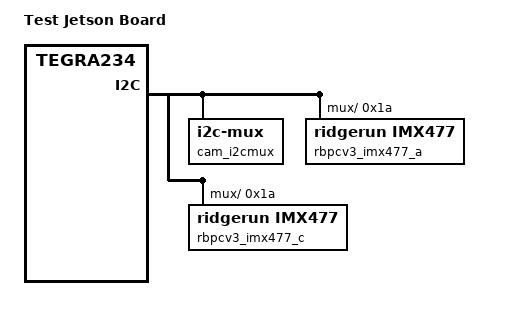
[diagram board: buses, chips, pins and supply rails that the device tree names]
// Base DTB — two IMX477 nodes, ACTIVE
/dts-v1/;
/ {
	compatible = "nvidia,tegra234";
	model = "Test Jetson Board";

	cam_i2cmux {
		#address-cells = <1>;
		#size-cells = <0>;

		i2c@0 {
			#address-cells = <1>;
			#size-cells = <0>;

			rbpcv3_imx477_a@1a {
				compatible = "ridgerun,imx477";
				reg = <0x1a>;
			};
		};

		i2c@1 {
			#address-cells = <1>;
			#size-cells = <0>;

			rbpcv3_imx477_c@1a {
				compatible = "ridgerun,imx477";
				reg = <0x1a>;
			};
		};
	};
};
